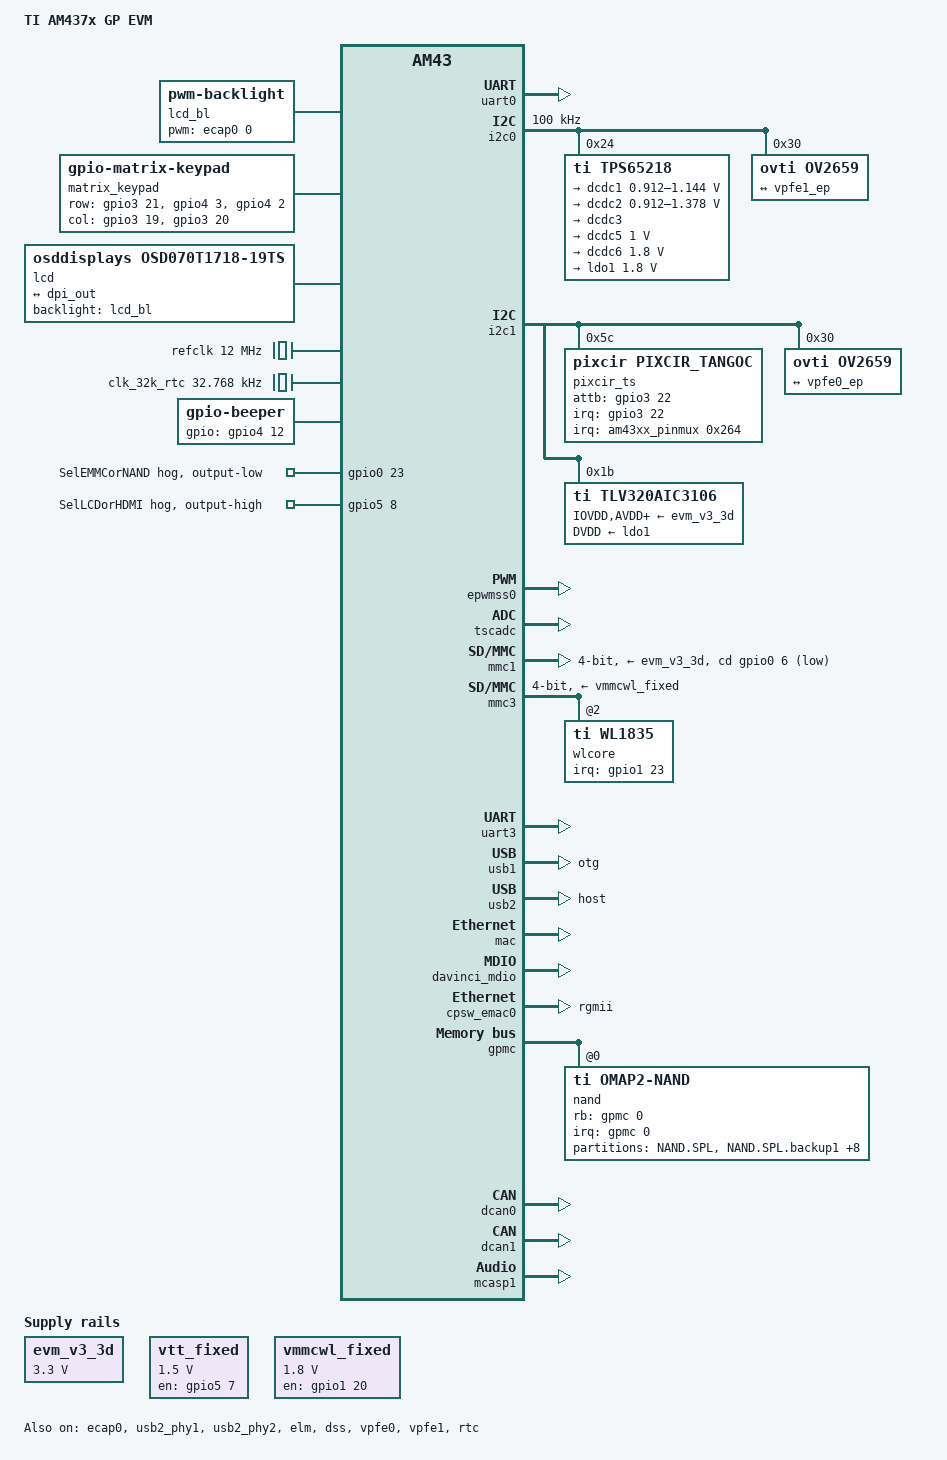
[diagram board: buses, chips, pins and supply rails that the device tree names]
/*
 * Copyright (C) 2013 Texas Instruments Incorporated - http://www.ti.com/
 *
 * This program is free software; you can redistribute it and/or modify
 * it under the terms of the GNU General Public License version 2 as
 * published by the Free Software Foundation.
 */

/* AM437x GP EVM */

/dts-v1/;

#include "am4372.dtsi"
#include <dt-bindings/pinctrl/am43xx.h>
#include <dt-bindings/pwm/pwm.h>
#include <dt-bindings/gpio/gpio.h>

/ {
	model = "TI AM437x GP EVM";
	compatible = "ti,am437x-gp-evm","ti,am4372","ti,am43";

	aliases {
		display0 = &lcd0;
	};

	chosen {
		stdout-path = &uart0;
	};

	evm_v3_3d: fixedregulator-v3_3d {
		compatible = "regulator-fixed";
		regulator-name = "evm_v3_3d";
		regulator-min-microvolt = <3300000>;
		regulator-max-microvolt = <3300000>;
		enable-active-high;
	};

	vtt_fixed: fixedregulator-vtt {
		compatible = "regulator-fixed";
		regulator-name = "vtt_fixed";
		regulator-min-microvolt = <1500000>;
		regulator-max-microvolt = <1500000>;
		regulator-always-on;
		regulator-boot-on;
		enable-active-high;
		gpio = <&gpio5 7 GPIO_ACTIVE_HIGH>;
	};

	vmmcwl_fixed: fixedregulator-mmcwl {
		compatible = "regulator-fixed";
		regulator-name = "vmmcwl_fixed";
		regulator-min-microvolt = <1800000>;
		regulator-max-microvolt = <1800000>;
		gpio = <&gpio1 20 GPIO_ACTIVE_HIGH>;
		enable-active-high;
	};

	lcd_bl: backlight {
		compatible = "pwm-backlight";
		pwms = <&ecap0 0 50000 PWM_POLARITY_INVERTED>;
		brightness-levels = <0 51 53 56 62 75 101 152 255>;
		default-brightness-level = <8>;
	};

	matrix_keypad: matrix_keypad0 {
		compatible = "gpio-matrix-keypad";
		debounce-delay-ms = <5>;
		col-scan-delay-us = <2>;

		row-gpios = <&gpio3 21 GPIO_ACTIVE_HIGH /* Bank3, pin21 */
				&gpio4 3 GPIO_ACTIVE_HIGH /* Bank4, pin3 */
				&gpio4 2 GPIO_ACTIVE_HIGH>; /* Bank4, pin2 */

		col-gpios = <&gpio3 19 GPIO_ACTIVE_HIGH /* Bank3, pin19 */
				&gpio3 20 GPIO_ACTIVE_HIGH>; /* Bank3, pin20 */

		linux,keymap = <0x00000201      /* P1 */
				0x00010202      /* P2 */
				0x01000067      /* UP */
				0x0101006a      /* RIGHT */
				0x02000069      /* LEFT */
				0x0201006c>;      /* DOWN */
		};

	lcd0: display {
		compatible = "osddisplays,osd070t1718-19ts", "panel-dpi";
		label = "lcd";

		backlight = <&lcd_bl>;

		panel-timing {
			clock-frequency = <33000000>;
			hactive = <800>;
			vactive = <480>;
			hfront-porch = <210>;
			hback-porch = <16>;
			hsync-len = <30>;
			vback-porch = <10>;
			vfront-porch = <22>;
			vsync-len = <13>;
			hsync-active = <0>;
			vsync-active = <0>;
			de-active = <1>;
			pixelclk-active = <1>;
		};

		port {
			lcd_in: endpoint {
				remote-endpoint = <&dpi_out>;
			};
		};
	};

	/* fixed 12MHz oscillator */
	refclk: oscillator {
		#clock-cells = <0>;
		compatible = "fixed-clock";
		clock-frequency = <12000000>;
	};

	/* fixed 32k external oscillator clock */
	clk_32k_rtc: clk_32k_rtc {
		#clock-cells = <0>;
		compatible = "fixed-clock";
		clock-frequency = <32768>;
	};

	sound0: sound0 {
		compatible = "simple-audio-card";
		simple-audio-card,name = "AM437x-GP-EVM";
		simple-audio-card,widgets =
			"Headphone", "Headphone Jack",
			"Line", "Line In";
		simple-audio-card,routing =
			"Headphone Jack",	"HPLOUT",
			"Headphone Jack",	"HPROUT",
			"LINE1L",		"Line In",
			"LINE1R",		"Line In";
		simple-audio-card,format = "dsp_b";
		simple-audio-card,bitclock-master = <&sound0_master>;
		simple-audio-card,frame-master = <&sound0_master>;
		simple-audio-card,bitclock-inversion;

		simple-audio-card,cpu {
			sound-dai = <&mcasp1>;
			system-clock-frequency = <12000000>;
		};

		sound0_master: simple-audio-card,codec {
			sound-dai = <&tlv320aic3106>;
			system-clock-frequency = <12000000>;
		};
	};

	beeper: beeper {
		compatible = "gpio-beeper";
		pinctrl-names = "default";
		pinctrl-0 = <&beeper_pins>;
		gpios = <&gpio4 12 GPIO_ACTIVE_HIGH>;
	};
};

&am43xx_pinmux {
	pinctrl-names = "default", "sleep";
	pinctrl-0 = <&wlan_pins_default>;
	pinctrl-1 = <&wlan_pins_sleep>;

	i2c0_pins: i2c0_pins {
		pinctrl-single,pins = <
			AM4372_IOPAD(0x988, PIN_INPUT_PULLUP | SLEWCTRL_FAST | MUX_MODE0)  /* i2c0_sda.i2c0_sda */
			AM4372_IOPAD(0x98c, PIN_INPUT_PULLUP | SLEWCTRL_FAST | MUX_MODE0)  /* i2c0_scl.i2c0_scl */
		>;
	};

	i2c1_pins: i2c1_pins {
		pinctrl-single,pins = <
			AM4372_IOPAD(0x95c, PIN_INPUT_PULLUP | SLEWCTRL_FAST | MUX_MODE2)  /* spi0_cs0.i2c1_scl */
			AM4372_IOPAD(0x958, PIN_INPUT_PULLUP | SLEWCTRL_FAST | MUX_MODE2)  /* spi0_d1.i2c1_sda  */
		>;
	};

	mmc1_pins: pinmux_mmc1_pins {
		pinctrl-single,pins = <
			AM4372_IOPAD(0x960, PIN_INPUT | MUX_MODE7) /* spi0_cs1.gpio0_6 */
		>;
	};

	ecap0_pins: backlight_pins {
		pinctrl-single,pins = <
			AM4372_IOPAD(0x964, MUX_MODE0)       /* eCAP0_in_PWM0_out.eCAP0_in_PWM0_out MODE0 */
		>;
	};

	pixcir_ts_pins: pixcir_ts_pins {
		pinctrl-single,pins = <
			AM4372_IOPAD(0xa64, PIN_INPUT_PULLUP | MUX_MODE7)  /* spi2_d0.gpio3_22 */
		>;
	};

	cpsw_default: cpsw_default {
		pinctrl-single,pins = <
			/* Slave 1 */
			AM4372_IOPAD(0x914, PIN_OUTPUT_PULLDOWN | MUX_MODE2)	/* mii1_txen.rgmii1_txen */
			AM4372_IOPAD(0x918, PIN_INPUT_PULLDOWN | MUX_MODE2)	/* mii1_rxdv.rgmii1_rxctl */
			AM4372_IOPAD(0x91c, PIN_OUTPUT_PULLDOWN | MUX_MODE2)	/* mii1_txd1.rgmii1_txd3 */
			AM4372_IOPAD(0x920, PIN_OUTPUT_PULLDOWN | MUX_MODE2)	/* mii1_txd0.rgmii1_txd2 */
			AM4372_IOPAD(0x924, PIN_OUTPUT_PULLDOWN | MUX_MODE2)	/* mii1_txd1.rgmii1_txd1 */
			AM4372_IOPAD(0x928, PIN_OUTPUT_PULLDOWN | MUX_MODE2)	/* mii1_txd0.rgmii1_txd0 */
			AM4372_IOPAD(0x92c, PIN_OUTPUT_PULLDOWN | MUX_MODE2)	/* mii1_txclk.rmii1_tclk */
			AM4372_IOPAD(0x930, PIN_INPUT_PULLDOWN | MUX_MODE2)	/* mii1_rxclk.rmii1_rclk */
			AM4372_IOPAD(0x934, PIN_INPUT_PULLDOWN | MUX_MODE2)	/* mii1_rxd1.rgmii1_rxd3 */
			AM4372_IOPAD(0x938, PIN_INPUT_PULLDOWN | MUX_MODE2)	/* mii1_rxd0.rgmii1_rxd2 */
			AM4372_IOPAD(0x93c, PIN_INPUT_PULLDOWN | MUX_MODE2)	/* mii1_rxd1.rgmii1_rxd1 */
			AM4372_IOPAD(0x940, PIN_INPUT_PULLDOWN | MUX_MODE2)	/* mii1_rxd0.rgmii1_rxd0 */
		>;
	};

	cpsw_sleep: cpsw_sleep {
		pinctrl-single,pins = <
			/* Slave 1 reset value */
			AM4372_IOPAD(0x914, PIN_INPUT_PULLDOWN | MUX_MODE7)
			AM4372_IOPAD(0x918, PIN_INPUT_PULLDOWN | MUX_MODE7)
			AM4372_IOPAD(0x91c, PIN_INPUT_PULLDOWN | MUX_MODE7)
			AM4372_IOPAD(0x920, PIN_INPUT_PULLDOWN | MUX_MODE7)
			AM4372_IOPAD(0x924, PIN_INPUT_PULLDOWN | MUX_MODE7)
			AM4372_IOPAD(0x928, PIN_INPUT_PULLDOWN | MUX_MODE7)
			AM4372_IOPAD(0x92c, PIN_INPUT_PULLDOWN | MUX_MODE7)
			AM4372_IOPAD(0x930, PIN_INPUT_PULLDOWN | MUX_MODE7)
			AM4372_IOPAD(0x934, PIN_INPUT_PULLDOWN | MUX_MODE7)
			AM4372_IOPAD(0x938, PIN_INPUT_PULLDOWN | MUX_MODE7)
			AM4372_IOPAD(0x93c, PIN_INPUT_PULLDOWN | MUX_MODE7)
			AM4372_IOPAD(0x940, PIN_INPUT_PULLDOWN | MUX_MODE7)
		>;
	};

	davinci_mdio_default: davinci_mdio_default {
		pinctrl-single,pins = <
			/* MDIO */
			AM4372_IOPAD(0x948, PIN_INPUT_PULLUP | SLEWCTRL_FAST | MUX_MODE0)	/* mdio_data.mdio_data */
			AM4372_IOPAD(0x94c, PIN_OUTPUT_PULLUP | MUX_MODE0)			/* mdio_clk.mdio_clk */
		>;
	};

	davinci_mdio_sleep: davinci_mdio_sleep {
		pinctrl-single,pins = <
			/* MDIO reset value */
			AM4372_IOPAD(0x948, PIN_INPUT_PULLDOWN | MUX_MODE7)
			AM4372_IOPAD(0x94c, PIN_INPUT_PULLDOWN | MUX_MODE7)
		>;
	};

	nand_flash_x8: nand_flash_x8 {
		pinctrl-single,pins = <
			AM4372_IOPAD(0x800, PIN_INPUT  | MUX_MODE0)	/* gpmc_ad0.gpmc_ad0 */
			AM4372_IOPAD(0x804, PIN_INPUT  | MUX_MODE0)	/* gpmc_ad1.gpmc_ad1 */
			AM4372_IOPAD(0x808, PIN_INPUT  | MUX_MODE0)	/* gpmc_ad2.gpmc_ad2 */
			AM4372_IOPAD(0x80c, PIN_INPUT  | MUX_MODE0)	/* gpmc_ad3.gpmc_ad3 */
			AM4372_IOPAD(0x810, PIN_INPUT  | MUX_MODE0)	/* gpmc_ad4.gpmc_ad4 */
			AM4372_IOPAD(0x814, PIN_INPUT  | MUX_MODE0)	/* gpmc_ad5.gpmc_ad5 */
			AM4372_IOPAD(0x818, PIN_INPUT  | MUX_MODE0)	/* gpmc_ad6.gpmc_ad6 */
			AM4372_IOPAD(0x81c, PIN_INPUT  | MUX_MODE0)	/* gpmc_ad7.gpmc_ad7 */
			AM4372_IOPAD(0x870, PIN_INPUT_PULLUP | MUX_MODE0)	/* gpmc_wait0.gpmc_wait0 */
			AM4372_IOPAD(0x874, PIN_OUTPUT_PULLUP | MUX_MODE7)	/* gpmc_wpn.gpmc_wpn */
			AM4372_IOPAD(0x87c, PIN_OUTPUT | MUX_MODE0)		/* gpmc_csn0.gpmc_csn0  */
			AM4372_IOPAD(0x890, PIN_OUTPUT | MUX_MODE0)		/* gpmc_advn_ale.gpmc_advn_ale */
			AM4372_IOPAD(0x894, PIN_OUTPUT | MUX_MODE0)		/* gpmc_oen_ren.gpmc_oen_ren */
			AM4372_IOPAD(0x898, PIN_OUTPUT | MUX_MODE0)		/* gpmc_wen.gpmc_wen */
			AM4372_IOPAD(0x89c, PIN_OUTPUT | MUX_MODE0)		/* gpmc_be0n_cle.gpmc_be0n_cle */
		>;
	};

	dss_pins: dss_pins {
		pinctrl-single,pins = <
			AM4372_IOPAD(0x820, PIN_OUTPUT_PULLUP | MUX_MODE1) /*gpmc ad 8 -> DSS DATA 23 */
			AM4372_IOPAD(0x824, PIN_OUTPUT_PULLUP | MUX_MODE1)
			AM4372_IOPAD(0x828, PIN_OUTPUT_PULLUP | MUX_MODE1)
			AM4372_IOPAD(0x82c, PIN_OUTPUT_PULLUP | MUX_MODE1)
			AM4372_IOPAD(0x830, PIN_OUTPUT_PULLUP | MUX_MODE1)
			AM4372_IOPAD(0x834, PIN_OUTPUT_PULLUP | MUX_MODE1)
			AM4372_IOPAD(0x838, PIN_OUTPUT_PULLUP | MUX_MODE1)
			AM4372_IOPAD(0x83c, PIN_OUTPUT_PULLUP | MUX_MODE1) /*gpmc ad 15 -> DSS DATA 16 */
			AM4372_IOPAD(0x8a0, PIN_OUTPUT_PULLUP | MUX_MODE0) /* DSS DATA 0 */
			AM4372_IOPAD(0x8a4, PIN_OUTPUT_PULLUP | MUX_MODE0)
			AM4372_IOPAD(0x8a8, PIN_OUTPUT_PULLUP | MUX_MODE0)
			AM4372_IOPAD(0x8ac, PIN_OUTPUT_PULLUP | MUX_MODE0)
			AM4372_IOPAD(0x8b0, PIN_OUTPUT_PULLUP | MUX_MODE0)
			AM4372_IOPAD(0x8b4, PIN_OUTPUT_PULLUP | MUX_MODE0)
			AM4372_IOPAD(0x8b8, PIN_OUTPUT_PULLUP | MUX_MODE0)
			AM4372_IOPAD(0x8bc, PIN_OUTPUT_PULLUP | MUX_MODE0)
			AM4372_IOPAD(0x8c0, PIN_OUTPUT_PULLUP | MUX_MODE0)
			AM4372_IOPAD(0x8c4, PIN_OUTPUT_PULLUP | MUX_MODE0)
			AM4372_IOPAD(0x8c8, PIN_OUTPUT_PULLUP | MUX_MODE0)
			AM4372_IOPAD(0x8cc, PIN_OUTPUT_PULLUP | MUX_MODE0)
			AM4372_IOPAD(0x8d0, PIN_OUTPUT_PULLUP | MUX_MODE0)
			AM4372_IOPAD(0x8d4, PIN_OUTPUT_PULLUP | MUX_MODE0)
			AM4372_IOPAD(0x8d8, PIN_OUTPUT_PULLUP | MUX_MODE0)
			AM4372_IOPAD(0x8dc, PIN_OUTPUT_PULLUP | MUX_MODE0) /* DSS DATA 15 */
			AM4372_IOPAD(0x8e0, PIN_OUTPUT_PULLUP | MUX_MODE0) /* DSS VSYNC */
			AM4372_IOPAD(0x8e4, PIN_OUTPUT_PULLUP | MUX_MODE0) /* DSS HSYNC */
			AM4372_IOPAD(0x8e8, PIN_OUTPUT_PULLUP | MUX_MODE0) /* DSS PCLK */
			AM4372_IOPAD(0x8ec, PIN_OUTPUT_PULLUP | MUX_MODE0) /* DSS AC BIAS EN */

		>;
	};

	display_mux_pins: display_mux_pins {
		pinctrl-single,pins = <
			/* GPIO 5_8 to select LCD / HDMI */
			AM4372_IOPAD(0xa38, PIN_OUTPUT_PULLUP | MUX_MODE7)
		>;
	};

	dcan0_default: dcan0_default_pins {
		pinctrl-single,pins = <
			AM4372_IOPAD(0x978, PIN_OUTPUT | MUX_MODE2)		/* uart1_ctsn.d_can0_tx */
			AM4372_IOPAD(0x97c, PIN_INPUT_PULLUP | MUX_MODE2)	/* uart1_rtsn.d_can0_rx */
		>;
	};

	dcan0_sleep: dcan0_sleep_pins {
		pinctrl-single,pins = <
			AM4372_IOPAD(0x978, PIN_INPUT_PULLUP | MUX_MODE7)	/* uart1_ctsn.gpio0_12 */
			AM4372_IOPAD(0x97c, PIN_INPUT_PULLUP | MUX_MODE7)	/* uart1_rtsn.gpio0_13 */
		>;
	};

	dcan1_default: dcan1_default_pins {
		pinctrl-single,pins = <
			AM4372_IOPAD(0x980, PIN_OUTPUT | MUX_MODE2)		/* uart1_rxd.d_can1_tx */
			AM4372_IOPAD(0x984, PIN_INPUT_PULLUP | MUX_MODE2)	/* uart1_txd.d_can1_rx */
		>;
	};

	dcan1_sleep: dcan1_sleep_pins {
		pinctrl-single,pins = <
			AM4372_IOPAD(0x980, PIN_INPUT_PULLUP | MUX_MODE7)	/* uart1_rxd.gpio0_14 */
			AM4372_IOPAD(0x984, PIN_INPUT_PULLUP | MUX_MODE7)	/* uart1_txd.gpio0_15 */
		>;
	};

	vpfe0_pins_default: vpfe0_pins_default {
		pinctrl-single,pins = <
			AM4372_IOPAD(0x9b0, PIN_INPUT_PULLUP | MUX_MODE0)  /* cam0_hd mode 0*/
			AM4372_IOPAD(0x9b4, PIN_INPUT_PULLUP | MUX_MODE0)  /* cam0_vd mode 0*/
			AM4372_IOPAD(0x9c0, PIN_INPUT_PULLUP | MUX_MODE0)  /* cam0_pclk mode 0*/
			AM4372_IOPAD(0x9c4, PIN_INPUT_PULLUP | MUX_MODE0)  /* cam0_data8 mode 0*/
			AM4372_IOPAD(0x9c8, PIN_INPUT_PULLUP | MUX_MODE0)  /* cam0_data9 mode 0*/
			AM4372_IOPAD(0xa08, PIN_INPUT_PULLUP | MUX_MODE0)  /* cam0_data0 mode 0*/
			AM4372_IOPAD(0xa0c, PIN_INPUT_PULLUP | MUX_MODE0)  /* cam0_data1 mode 0*/
			AM4372_IOPAD(0xa10, PIN_INPUT_PULLUP | MUX_MODE0)  /* cam0_data2 mode 0*/
			AM4372_IOPAD(0xa14, PIN_INPUT_PULLUP | MUX_MODE0)  /* cam0_data3 mode 0*/
			AM4372_IOPAD(0xa18, PIN_INPUT_PULLUP | MUX_MODE0)  /* cam0_data4 mode 0*/
			AM4372_IOPAD(0xa1c, PIN_INPUT_PULLUP | MUX_MODE0)  /* cam0_data5 mode 0*/
			AM4372_IOPAD(0xa20, PIN_INPUT_PULLUP | MUX_MODE0)  /* cam0_data6 mode 0*/
			AM4372_IOPAD(0xa24, PIN_INPUT_PULLUP | MUX_MODE0)  /* cam0_data7 mode 0*/
		>;
	};

	vpfe0_pins_sleep: vpfe0_pins_sleep {
		pinctrl-single,pins = <
			AM4372_IOPAD(0x9b0, DS0_PULL_UP_DOWN_EN | INPUT_EN | MUX_MODE7)  /* cam0_hd mode 0*/
			AM4372_IOPAD(0x9b4, DS0_PULL_UP_DOWN_EN | INPUT_EN | MUX_MODE7)  /* cam0_vd mode 0*/
			AM4372_IOPAD(0x9c0, DS0_PULL_UP_DOWN_EN | INPUT_EN | MUX_MODE7)  /* cam0_pclk mode 0*/
			AM4372_IOPAD(0x9c4, DS0_PULL_UP_DOWN_EN | INPUT_EN | MUX_MODE7)  /* cam0_data8 mode 0*/
			AM4372_IOPAD(0x9c8, DS0_PULL_UP_DOWN_EN | INPUT_EN | MUX_MODE7)  /* cam0_data9 mode 0*/
			AM4372_IOPAD(0xa08, DS0_PULL_UP_DOWN_EN | INPUT_EN | MUX_MODE7)  /* cam0_data0 mode 0*/
			AM4372_IOPAD(0xa0c, DS0_PULL_UP_DOWN_EN | INPUT_EN | MUX_MODE7)  /* cam0_data1 mode 0*/
			AM4372_IOPAD(0xa10, DS0_PULL_UP_DOWN_EN | INPUT_EN | MUX_MODE7)  /* cam0_data2 mode 0*/
			AM4372_IOPAD(0xa14, DS0_PULL_UP_DOWN_EN | INPUT_EN | MUX_MODE7)  /* cam0_data3 mode 0*/
			AM4372_IOPAD(0xa18, DS0_PULL_UP_DOWN_EN | INPUT_EN | MUX_MODE7)  /* cam0_data4 mode 0*/
			AM4372_IOPAD(0xa1c, DS0_PULL_UP_DOWN_EN | INPUT_EN | MUX_MODE7)  /* cam0_data5 mode 0*/
			AM4372_IOPAD(0xa20, DS0_PULL_UP_DOWN_EN | INPUT_EN | MUX_MODE7)  /* cam0_data6 mode 0*/
			AM4372_IOPAD(0xa24, DS0_PULL_UP_DOWN_EN | INPUT_EN | MUX_MODE7)  /* cam0_data7 mode 0*/
		>;
	};

	vpfe1_pins_default: vpfe1_pins_default {
		pinctrl-single,pins = <
			AM4372_IOPAD(0x9cc, PIN_INPUT_PULLUP | MUX_MODE0)  /* cam1_data9 mode 0*/
			AM4372_IOPAD(0x9d0, PIN_INPUT_PULLUP | MUX_MODE0)  /* cam1_data8 mode 0*/
			AM4372_IOPAD(0x9d4, PIN_INPUT_PULLUP | MUX_MODE0)  /* cam1_hd mode 0*/
			AM4372_IOPAD(0x9d8, PIN_INPUT_PULLUP | MUX_MODE0)  /* cam1_vd mode 0*/
			AM4372_IOPAD(0x9dC, PIN_INPUT_PULLUP | MUX_MODE0)  /* cam1_pclk mode 0*/
			AM4372_IOPAD(0x9e8, PIN_INPUT_PULLUP | MUX_MODE0)  /* cam1_data0 mode 0*/
			AM4372_IOPAD(0x9ec, PIN_INPUT_PULLUP | MUX_MODE0)  /* cam1_data1 mode 0*/
			AM4372_IOPAD(0x9f0, PIN_INPUT_PULLUP | MUX_MODE0)  /* cam1_data2 mode 0*/
			AM4372_IOPAD(0x9f4, PIN_INPUT_PULLUP | MUX_MODE0)  /* cam1_data3 mode 0*/
			AM4372_IOPAD(0x9f8, PIN_INPUT_PULLUP | MUX_MODE0)  /* cam1_data4 mode 0*/
			AM4372_IOPAD(0x9fc, PIN_INPUT_PULLUP | MUX_MODE0)  /* cam1_data5 mode 0*/
			AM4372_IOPAD(0xa00, PIN_INPUT_PULLUP | MUX_MODE0)  /* cam1_data6 mode 0*/
			AM4372_IOPAD(0xa04, PIN_INPUT_PULLUP | MUX_MODE0)  /* cam1_data7 mode 0*/
		>;
	};

	vpfe1_pins_sleep: vpfe1_pins_sleep {
		pinctrl-single,pins = <
			AM4372_IOPAD(0x9cc, DS0_PULL_UP_DOWN_EN | INPUT_EN | MUX_MODE7)  /* cam1_data9 mode 0*/
			AM4372_IOPAD(0x9d0, DS0_PULL_UP_DOWN_EN | INPUT_EN | MUX_MODE7)  /* cam1_data8 mode 0*/
			AM4372_IOPAD(0x9d4, DS0_PULL_UP_DOWN_EN | INPUT_EN | MUX_MODE7)  /* cam1_hd mode 0*/
			AM4372_IOPAD(0x9d8, DS0_PULL_UP_DOWN_EN | INPUT_EN | MUX_MODE7)  /* cam1_vd mode 0*/
			AM4372_IOPAD(0x9dc, DS0_PULL_UP_DOWN_EN | INPUT_EN | MUX_MODE7)  /* cam1_pclk mode 0*/
			AM4372_IOPAD(0x9e8, DS0_PULL_UP_DOWN_EN | INPUT_EN | MUX_MODE7)  /* cam1_data0 mode 0*/
			AM4372_IOPAD(0x9ec, DS0_PULL_UP_DOWN_EN | INPUT_EN | MUX_MODE7)  /* cam1_data1 mode 0*/
			AM4372_IOPAD(0x9f0, DS0_PULL_UP_DOWN_EN | INPUT_EN | MUX_MODE7)  /* cam1_data2 mode 0*/
			AM4372_IOPAD(0x9f4, DS0_PULL_UP_DOWN_EN | INPUT_EN | MUX_MODE7)  /* cam1_data3 mode 0*/
			AM4372_IOPAD(0x9f8, DS0_PULL_UP_DOWN_EN | INPUT_EN | MUX_MODE7)  /* cam1_data4 mode 0*/
			AM4372_IOPAD(0x9fc, DS0_PULL_UP_DOWN_EN | INPUT_EN | MUX_MODE7)  /* cam1_data5 mode 0*/
			AM4372_IOPAD(0xa00, DS0_PULL_UP_DOWN_EN | INPUT_EN | MUX_MODE7)  /* cam1_data6 mode 0*/
			AM4372_IOPAD(0xa04, DS0_PULL_UP_DOWN_EN | INPUT_EN | MUX_MODE7)  /* cam1_data7 mode 0*/
		>;
	};

	mmc3_pins_default: pinmux_mmc3_pins_default {
		pinctrl-single,pins = <
			AM4372_IOPAD(0x88c, PIN_INPUT_PULLUP | MUX_MODE3)      /* gpmc_clk.mmc2_clk */
			AM4372_IOPAD(0x888, PIN_INPUT_PULLUP | MUX_MODE3)      /* gpmc_csn3.mmc2_cmd */
			AM4372_IOPAD(0x844, PIN_INPUT_PULLUP | MUX_MODE3)      /* gpmc_a1.mmc2_dat0 */
			AM4372_IOPAD(0x848, PIN_INPUT_PULLUP | MUX_MODE3)      /* gpmc_a2.mmc2_dat1 */
			AM4372_IOPAD(0x84c, PIN_INPUT_PULLUP | MUX_MODE3)      /* gpmc_a3.mmc2_dat2 */
			AM4372_IOPAD(0x878, PIN_INPUT_PULLUP | MUX_MODE3)      /* gpmc_be1n.mmc2_dat3 */
		>;
	};

	mmc3_pins_sleep: pinmux_mmc3_pins_sleep {
		pinctrl-single,pins = <
			AM4372_IOPAD(0x88c, PIN_INPUT_PULLDOWN | MUX_MODE7)	/* gpmc_clk.mmc2_clk */
			AM4372_IOPAD(0x888, PIN_INPUT_PULLDOWN | MUX_MODE7)	/* gpmc_csn3.mmc2_cmd */
			AM4372_IOPAD(0x844, PIN_INPUT_PULLDOWN | MUX_MODE7)	/* gpmc_a1.mmc2_dat0 */
			AM4372_IOPAD(0x848, PIN_INPUT_PULLDOWN | MUX_MODE7)	/* gpmc_a2.mmc2_dat1 */
			AM4372_IOPAD(0x84c, PIN_INPUT_PULLDOWN | MUX_MODE7)	/* gpmc_a3.mmc2_dat2 */
			AM4372_IOPAD(0x878, PIN_INPUT_PULLDOWN | MUX_MODE7)	/* gpmc_be1n.mmc2_dat3 */
		>;
	};

	wlan_pins_default: pinmux_wlan_pins_default {
		pinctrl-single,pins = <
			AM4372_IOPAD(0x850, PIN_OUTPUT_PULLDOWN | MUX_MODE7)		/* gpmc_a4.gpio1_20 WL_EN */
			AM4372_IOPAD(0x85c, PIN_INPUT | WAKEUP_ENABLE | MUX_MODE7)	/* gpmc_a7.gpio1_23 WL_IRQ*/
			AM4372_IOPAD(0x840, PIN_OUTPUT_PULLDOWN | MUX_MODE7)		/* gpmc_a0.gpio1_16 BT_EN*/
		>;
	};

	wlan_pins_sleep: pinmux_wlan_pins_sleep {
		pinctrl-single,pins = <
			AM4372_IOPAD(0x850, PIN_OUTPUT_PULLDOWN | MUX_MODE7)		/* gpmc_a4.gpio1_20 WL_EN */
			AM4372_IOPAD(0x85c, PIN_INPUT | WAKEUP_ENABLE | MUX_MODE7)	/* gpmc_a7.gpio1_23 WL_IRQ*/
			AM4372_IOPAD(0x840, PIN_OUTPUT_PULLUP | MUX_MODE7)		/* gpmc_a0.gpio1_16 BT_EN*/
		>;
	};

	uart3_pins: uart3_pins {
		pinctrl-single,pins = <
			AM4372_IOPAD(0xa28, PIN_INPUT | MUX_MODE0)		/* uart3_rxd.uart3_rxd */
			AM4372_IOPAD(0xa2c, PIN_OUTPUT_PULLDOWN | MUX_MODE0) /* uart3_txd.uart3_txd */
			AM4372_IOPAD(0xa30, PIN_INPUT_PULLUP | MUX_MODE0)	/* uart3_ctsn.uart3_ctsn */
			AM4372_IOPAD(0xa34, PIN_OUTPUT_PULLDOWN | MUX_MODE0) /* uart3_rtsn.uart3_rtsn */
		>;
	};

	mcasp1_pins: mcasp1_pins {
		pinctrl-single,pins = <
			AM4372_IOPAD(0x908, PIN_OUTPUT_PULLDOWN | MUX_MODE4)	/* mii1_col.mcasp1_axr2 */
			AM4372_IOPAD(0x90c, PIN_INPUT_PULLDOWN | MUX_MODE4)	/* mii1_crs.mcasp1_aclkx */
			AM4372_IOPAD(0x910, PIN_INPUT_PULLDOWN | MUX_MODE4)	/* mii1_rxerr.mcasp1_fsx */
			AM4372_IOPAD(0x944, PIN_INPUT_PULLDOWN | MUX_MODE4)	/* rmii1_ref_clk.mcasp1_axr3 */
		>;
	};

	mcasp1_sleep_pins: mcasp1_sleep_pins {
		pinctrl-single,pins = <
			AM4372_IOPAD(0x908, PIN_INPUT_PULLDOWN | MUX_MODE7)
			AM4372_IOPAD(0x90c, PIN_INPUT_PULLDOWN | MUX_MODE7)
			AM4372_IOPAD(0x910, PIN_INPUT_PULLDOWN | MUX_MODE7)
			AM4372_IOPAD(0x944, PIN_INPUT_PULLDOWN | MUX_MODE7)
		>;
	};

	gpio0_pins: gpio0_pins {
		pinctrl-single,pins = <
			AM4372_IOPAD(0xa6c, PIN_OUTPUT | MUX_MODE9) /* spi2_cs0.gpio0_23 SEL_eMMCorNANDn */
		>;
	};

	emmc_pins_default: emmc_pins_default {
		pinctrl-single,pins = <
			AM4372_IOPAD(0x800, PIN_INPUT_PULLUP | MUX_MODE1) /* gpmc_ad0.mmc1_dat0 */
			AM4372_IOPAD(0x804, PIN_INPUT_PULLUP | MUX_MODE1) /* gpmc_ad1.mmc1_dat1 */
			AM4372_IOPAD(0x808, PIN_INPUT_PULLUP | MUX_MODE1) /* gpmc_ad2.mmc1_dat2 */
			AM4372_IOPAD(0x80c, PIN_INPUT_PULLUP | MUX_MODE1) /* gpmc_ad3.mmc1_dat3 */
			AM4372_IOPAD(0x810, PIN_INPUT_PULLUP | MUX_MODE1) /* gpmc_ad4.mmc1_dat4 */
			AM4372_IOPAD(0x814, PIN_INPUT_PULLUP | MUX_MODE1) /* gpmc_ad5.mmc1_dat5 */
			AM4372_IOPAD(0x818, PIN_INPUT_PULLUP | MUX_MODE1) /* gpmc_ad6.mmc1_dat6 */
			AM4372_IOPAD(0x81c, PIN_INPUT_PULLUP | MUX_MODE1) /* gpmc_ad7.mmc1_dat7 */
			AM4372_IOPAD(0x880, PIN_INPUT_PULLUP | MUX_MODE2) /* gpmc_csn1.mmc1_clk */
			AM4372_IOPAD(0x884, PIN_INPUT_PULLUP | MUX_MODE2) /* gpmc_csn2.mmc1_cmd */
		>;
	};

	emmc_pins_sleep: emmc_pins_sleep {
		pinctrl-single,pins = <
			AM4372_IOPAD(0x800, PIN_INPUT_PULLDOWN | MUX_MODE7) /* gpmc_ad0.gpio1_0 */
			AM4372_IOPAD(0x804, PIN_INPUT_PULLDOWN | MUX_MODE7) /* gpmc_ad1.gpio1_1 */
			AM4372_IOPAD(0x808, PIN_INPUT_PULLDOWN | MUX_MODE7) /* gpmc_ad2.gpio1_2 */
			AM4372_IOPAD(0x80c, PIN_INPUT_PULLDOWN | MUX_MODE7) /* gpmc_ad3.gpio1_3 */
			AM4372_IOPAD(0x810, PIN_INPUT_PULLDOWN | MUX_MODE7) /* gpmc_ad4.gpio1_4 */
			AM4372_IOPAD(0x814, PIN_INPUT_PULLDOWN | MUX_MODE7) /* gpmc_ad5.gpio1_5 */
			AM4372_IOPAD(0x818, PIN_INPUT_PULLDOWN | MUX_MODE7) /* gpmc_ad6.gpio1_6 */
			AM4372_IOPAD(0x81c, PIN_INPUT_PULLDOWN | MUX_MODE7) /* gpmc_ad7.gpio1_7 */
			AM4372_IOPAD(0x880, PIN_INPUT_PULLDOWN | MUX_MODE7) /* gpmc_csn1.gpio1_30 */
			AM4372_IOPAD(0x884, PIN_INPUT_PULLDOWN | MUX_MODE7) /* gpmc_csn2.gpio1_31 */
		>;
	};

	uart0_pins_default: uart0_pins_default {
		pinctrl-single,pins = <
			AM4372_IOPAD(0x968, PIN_INPUT | MUX_MODE0)		/* uart0_ctsn.uart0_ctsn */
			AM4372_IOPAD(0x96C, PIN_OUTPUT_PULLDOWN | MUX_MODE0)	/* uart0_rtsn.uart0_rtsn */
			AM4372_IOPAD(0x970, PIN_INPUT_PULLUP | MUX_MODE0)	/* uart0_rxd.uart0_rxd */
			AM4372_IOPAD(0x974, PIN_OUTPUT_PULLDOWN | MUX_MODE0)	/* uart0_txd.uart0_txd */
		>;
	};

	beeper_pins: beeper_pins {
		pinctrl-single,pins = <
			AM4372_IOPAD(0x9e0, PIN_OUTPUT_PULLUP | MUX_MODE7)	/* cam1_field.gpio4_12 */
		>;
	};

};

&uart0 {
	status = "okay";
	pinctrl-names = "default";
	pinctrl-0 = <&uart0_pins_default>;
};

&i2c0 {
	status = "okay";
	pinctrl-names = "default";
	pinctrl-0 = <&i2c0_pins>;
	clock-frequency = <100000>;

	tps65218: tps65218@24 {
		reg = <0x24>;
		compatible = "ti,tps65218";
		interrupts = <GIC_SPI 7 IRQ_TYPE_LEVEL_HIGH>; /* NMIn */
		interrupt-controller;
		#interrupt-cells = <2>;

		dcdc1: regulator-dcdc1 {
			regulator-name = "vdd_core";
			regulator-min-microvolt = <912000>;
			regulator-max-microvolt = <1144000>;
			regulator-boot-on;
			regulator-always-on;
		};

		dcdc2: regulator-dcdc2 {
			regulator-name = "vdd_mpu";
			regulator-min-microvolt = <912000>;
			regulator-max-microvolt = <1378000>;
			regulator-boot-on;
			regulator-always-on;
		};

		dcdc3: regulator-dcdc3 {
			regulator-name = "vdcdc3";
			regulator-boot-on;
			regulator-always-on;
			regulator-state-mem {
				regulator-on-in-suspend;
			};
			regulator-state-disk {
				regulator-off-in-suspend;
			};
		};

		dcdc5: regulator-dcdc5 {
			regulator-name = "v1_0bat";
			regulator-min-microvolt = <1000000>;
			regulator-max-microvolt = <1000000>;
			regulator-boot-on;
			regulator-always-on;
			regulator-state-mem {
				regulator-on-in-suspend;
			};
		};

		dcdc6: regulator-dcdc6 {
			regulator-name = "v1_8bat";
			regulator-min-microvolt = <1800000>;
			regulator-max-microvolt = <1800000>;
			regulator-boot-on;
			regulator-always-on;
			regulator-state-mem {
				regulator-on-in-suspend;
			};
		};

		ldo1: regulator-ldo1 {
			regulator-min-microvolt = <1800000>;
			regulator-max-microvolt = <1800000>;
			regulator-boot-on;
			regulator-always-on;
		};
	};

	ov2659@30 {
		compatible = "ovti,ov2659";
		reg = <0x30>;

		clocks = <&refclk 0>;
		clock-names = "xvclk";

		port {
			ov2659_0: endpoint {
				remote-endpoint = <&vpfe1_ep>;
				link-frequencies = /bits/ 64 <70000000>;
			};
		};
	};
};

&i2c1 {
	status = "okay";
	pinctrl-names = "default";
	pinctrl-0 = <&i2c1_pins>;
	pixcir_ts@5c {
		compatible = "pixcir,pixcir_tangoc";
		pinctrl-names = "default";
		pinctrl-0 = <&pixcir_ts_pins>;
		reg = <0x5c>;

		attb-gpio = <&gpio3 22 GPIO_ACTIVE_HIGH>;

		/*
		 * 0x264 represents the offset of padconf register of
		 * gpio3_22 from am43xx_pinmux base.
		 */
		interrupts-extended = <&gpio3 22 IRQ_TYPE_EDGE_FALLING>,
				      <&am43xx_pinmux 0x264>;
		interrupt-names = "tsc", "wakeup";

		touchscreen-size-x = <1024>;
		touchscreen-size-y = <600>;
		wakeup-source;
	};

	ov2659@30 {
		compatible = "ovti,ov2659";
		reg = <0x30>;

		clocks = <&refclk 0>;
		clock-names = "xvclk";

		port {
			ov2659_1: endpoint {
				remote-endpoint = <&vpfe0_ep>;
				link-frequencies = /bits/ 64 <70000000>;
			};
		};
	};

	tlv320aic3106: tlv320aic3106@1b {
		#sound-dai-cells = <0>;
		compatible = "ti,tlv320aic3106";
		reg = <0x1b>;
		status = "okay";

		/* Regulators */
		IOVDD-supply = <&evm_v3_3d>; /* V3_3D -> <tps63031> EN: V1_8D -> VBAT */
		AVDD-supply = <&evm_v3_3d>; /* v3_3AUD -> V3_3D -> ... */
		DRVDD-supply = <&evm_v3_3d>; /* v3_3AUD -> V3_3D -> ... */
		DVDD-supply = <&ldo1>; /* V1_8D -> LDO1 */
	};
};

&epwmss0 {
	status = "okay";
};

&tscadc {
	status = "okay";

	adc {
		ti,adc-channels = <0 1 2 3 4 5 6 7>;
	};
};

&ecap0 {
	status = "okay";
	pinctrl-names = "default";
	pinctrl-0 = <&ecap0_pins>;
};

&gpio0 {
	pinctrl-names = "default";
	pinctrl-0 = <&gpio0_pins>;
	status = "okay";

	p23 {
		gpio-hog;
		gpios = <23 GPIO_ACTIVE_HIGH>;
		/* SelEMMCorNAND selects between eMMC and NAND:
		 * Low: NAND
		 * High: eMMC
		 * When changing this line make sure the newly
		 * selected device node is enabled and the previously
		 * selected device node is disabled.
		 */
		output-low;
		line-name = "SelEMMCorNAND";
	};
};

&gpio1 {
	status = "okay";
};

&gpio3 {
	status = "okay";
};

&gpio4 {
	status = "okay";
};

&gpio5 {
	pinctrl-names = "default";
	pinctrl-0 = <&display_mux_pins>;
	status = "okay";
	ti,no-reset-on-init;

	p8 {
		/*
		 * SelLCDorHDMI selects between display and audio paths:
		 * Low: HDMI display with audio via HDMI
		 * High: LCD display with analog audio via aic3111 codec
		 */
		gpio-hog;
		gpios = <8 GPIO_ACTIVE_HIGH>;
		output-high;
		line-name = "SelLCDorHDMI";
	};
};

&mmc1 {
	status = "okay";
	vmmc-supply = <&evm_v3_3d>;
	bus-width = <4>;
	pinctrl-names = "default";
	pinctrl-0 = <&mmc1_pins>;
	cd-gpios = <&gpio0 6 GPIO_ACTIVE_LOW>;
};

/* eMMC sits on mmc2 */
&mmc2 {
	/*
	 * When enabling eMMC, disable GPMC/NAND and set
	 * SelEMMCorNAND to output-high
	 */
	status = "disabled";
	vmmc-supply = <&evm_v3_3d>;
	bus-width = <8>;
	pinctrl-names = "default", "sleep";
	pinctrl-0 = <&emmc_pins_default>;
	pinctrl-1 = <&emmc_pins_sleep>;
	ti,non-removable;
};

&mmc3 {
	status = "okay";
	/* these are on the crossbar and are outlined in the
	   xbar-event-map element */
	dmas = <&edma_xbar 30 0 1>,
		<&edma_xbar 31 0 2>;
	dma-names = "tx", "rx";
	vmmc-supply = <&vmmcwl_fixed>;
	bus-width = <4>;
	pinctrl-names = "default", "sleep";
	pinctrl-0 = <&mmc3_pins_default>;
	pinctrl-1 = <&mmc3_pins_sleep>;
	cap-power-off-card;
	keep-power-in-suspend;
	ti,non-removable;

	#address-cells = <1>;
	#size-cells = <0>;
	wlcore: wlcore@0 {
		compatible = "ti,wl1835";
		reg = <2>;
		interrupt-parent = <&gpio1>;
		interrupts = <23 IRQ_TYPE_EDGE_RISING>;
	};
};

&uart3 {
	status = "okay";
	pinctrl-names = "default";
	pinctrl-0 = <&uart3_pins>;
};

&usb2_phy1 {
	status = "okay";
};

&usb1 {
	dr_mode = "otg";
	status = "okay";
};

&usb2_phy2 {
	status = "okay";
};

&usb2 {
	dr_mode = "host";
	status = "okay";
};

&mac {
	slaves = <1>;
	pinctrl-names = "default", "sleep";
	pinctrl-0 = <&cpsw_default>;
	pinctrl-1 = <&cpsw_sleep>;
	status = "okay";
};

&davinci_mdio {
	pinctrl-names = "default", "sleep";
	pinctrl-0 = <&davinci_mdio_default>;
	pinctrl-1 = <&davinci_mdio_sleep>;
	status = "okay";
};

&cpsw_emac0 {
	phy_id = <&davinci_mdio>, <0>;
	phy-mode = "rgmii";
};

&elm {
	status = "okay";
};

&gpmc {
	/*
	 * When enabling GPMC, disable eMMC and set
	 * SelEMMCorNAND to output-low
	 */
	status = "okay";
	pinctrl-names = "default";
	pinctrl-0 = <&nand_flash_x8>;
	ranges = <0 0 0x08000000 0x01000000>;	/* CS0 space. Min partition = 16MB */
	nand@0,0 {
		compatible = "ti,omap2-nand";
		reg = <0 0 4>;		/* device IO registers */
		interrupt-parent = <&gpmc>;
		interrupts = <0 IRQ_TYPE_NONE>, /* fifoevent */
			     <1 IRQ_TYPE_NONE>;	/* termcount */
		rb-gpios = <&gpmc 0 GPIO_ACTIVE_HIGH>;	/* gpmc_wait0 */
		ti,nand-xfer-type = "prefetch-dma";
		ti,nand-ecc-opt = "bch16";
		ti,elm-id = <&elm>;
		nand-bus-width = <8>;
		gpmc,device-width = <1>;
		gpmc,sync-clk-ps = <0>;
		gpmc,cs-on-ns = <0>;
		gpmc,cs-rd-off-ns = <40>;
		gpmc,cs-wr-off-ns = <40>;
		gpmc,adv-on-ns = <0>;
		gpmc,adv-rd-off-ns = <25>;
		gpmc,adv-wr-off-ns = <25>;
		gpmc,we-on-ns = <0>;
		gpmc,we-off-ns = <20>;
		gpmc,oe-on-ns = <3>;
		gpmc,oe-off-ns = <30>;
		gpmc,access-ns = <30>;
		gpmc,rd-cycle-ns = <40>;
		gpmc,wr-cycle-ns = <40>;
		gpmc,bus-turnaround-ns = <0>;
		gpmc,cycle2cycle-delay-ns = <0>;
		gpmc,clk-activation-ns = <0>;
		gpmc,wr-access-ns = <40>;
		gpmc,wr-data-mux-bus-ns = <0>;
		/* MTD partition table */
		/* All SPL-* partitions are sized to minimal length
		 * which can be independently programmable. For
		 * NAND flash this is equal to size of erase-block */
		#address-cells = <1>;
		#size-cells = <1>;
		partition@0 {
			label = "NAND.SPL";
			reg = <0x00000000 0x00040000>;
		};
		partition@1 {
			label = "NAND.SPL.backup1";
			reg = <0x00040000 0x00040000>;
		};
		partition@2 {
			label = "NAND.SPL.backup2";
			reg = <0x00080000 0x00040000>;
		};
		partition@3 {
			label = "NAND.SPL.backup3";
			reg = <0x000c0000 0x00040000>;
		};
		partition@4 {
			label = "NAND.u-boot-spl-os";
			reg = <0x00100000 0x00080000>;
		};
		partition@5 {
			label = "NAND.u-boot";
			reg = <0x00180000 0x00100000>;
		};
		partition@6 {
			label = "NAND.u-boot-env";
			reg = <0x00280000 0x00040000>;
		};
		partition@7 {
			label = "NAND.u-boot-env.backup1";
			reg = <0x002c0000 0x00040000>;
		};
		partition@8 {
			label = "NAND.kernel";
			reg = <0x00300000 0x00700000>;
		};
		partition@9 {
			label = "NAND.file-system";
			reg = <0x00a00000 0x1f600000>;
		};
	};
};

&dss {
	status = "ok";

	pinctrl-names = "default";
	pinctrl-0 = <&dss_pins>;

	port {
		dpi_out: endpoint {
			remote-endpoint = <&lcd_in>;
			data-lines = <24>;
		};
	};
};

&dcan0 {
	pinctrl-names = "default", "sleep";
	pinctrl-0 = <&dcan0_default>;
	pinctrl-1 = <&dcan0_sleep>;
	status = "okay";
};

&dcan1 {
	pinctrl-names = "default", "sleep";
	pinctrl-0 = <&dcan1_default>;
	pinctrl-1 = <&dcan1_sleep>;
	status = "okay";
};

&vpfe0 {
	status = "okay";
	pinctrl-names = "default", "sleep";
	pinctrl-0 = <&vpfe0_pins_default>;
	pinctrl-1 = <&vpfe0_pins_sleep>;

	port {
		vpfe0_ep: endpoint {
			remote-endpoint = <&ov2659_1>;
			ti,am437x-vpfe-interface = <0>;
			bus-width = <8>;
			hsync-active = <0>;
			vsync-active = <0>;
		};
	};
};

&vpfe1 {
	status = "okay";
	pinctrl-names = "default", "sleep";
	pinctrl-0 = <&vpfe1_pins_default>;
	pinctrl-1 = <&vpfe1_pins_sleep>;

	port {
		vpfe1_ep: endpoint {
			remote-endpoint = <&ov2659_0>;
			ti,am437x-vpfe-interface = <0>;
			bus-width = <8>;
			hsync-active = <0>;
			vsync-active = <0>;
		};
	};
};

&mcasp1 {
	#sound-dai-cells = <0>;
	pinctrl-names = "default", "sleep";
	pinctrl-0 = <&mcasp1_pins>;
	pinctrl-1 = <&mcasp1_sleep_pins>;

	status = "okay";

	op-mode = <0>; /* MCASP_IIS_MODE */
	tdm-slots = <2>;
	/* 4 serializers */
	serial-dir = <  /* 0: INACTIVE, 1: TX, 2: RX */
		0 0 1 2
	>;
	tx-num-evt = <32>;
	rx-num-evt = <32>;
};

&rtc {
	clocks = <&clk_32k_rtc>, <&clk_32768_ck>;
	clock-names = "ext-clk", "int-clk";
	status = "okay";
};

&cpu {
	cpu0-supply = <&dcdc2>;
};
